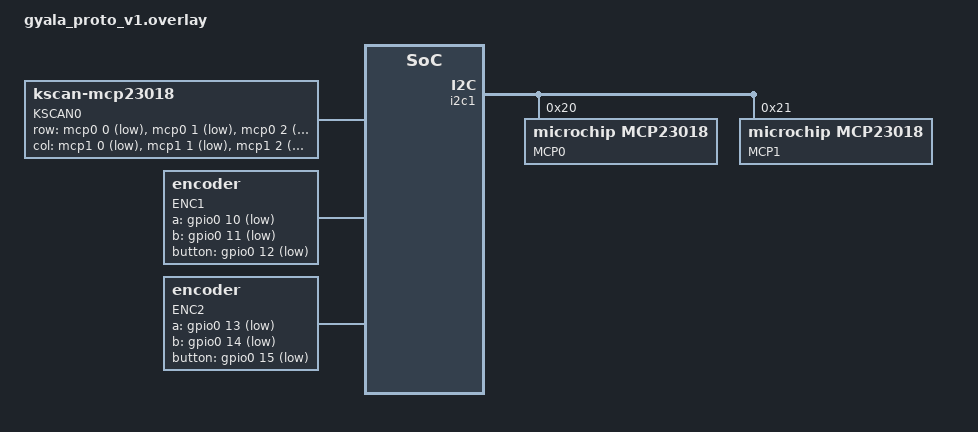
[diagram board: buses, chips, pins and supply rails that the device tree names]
/* gyala_proto_v1 overlay */
/ {
    i2c1: i2c@40003000 {
        compatible = "nordic,nrf-twim";
        status = "okay";
        label = "I2C1";

        mcp0: gpio@20 {
            compatible = "microchip,mcp23018";
            reg = <0x20>;
            gpio-controller;
            #gpio-cells = <2>;
            label = "MCP0";
        };

        mcp1: gpio@21 {
            compatible = "microchip,mcp23018";
            reg = <0x21>;
            gpio-controller;
            #gpio-cells = <2>;
            label = "MCP1";
        };
    };

    kscan0: kscan {
        compatible = "zmk,kscan-mcp23018";
        label = "KSCAN0";

        row-gpios = <&mcp0 0 GPIO_ACTIVE_LOW>,
                    <&mcp0 1 GPIO_ACTIVE_LOW>,
                    <&mcp0 2 GPIO_ACTIVE_LOW>,
                    <&mcp0 3 GPIO_ACTIVE_LOW>,
                    <&mcp0 4 GPIO_ACTIVE_LOW>;

        col-gpios = <&mcp1 0 GPIO_ACTIVE_LOW>,
                    <&mcp1 1 GPIO_ACTIVE_LOW>,
                    <&mcp1 2 GPIO_ACTIVE_LOW>,
                    <&mcp1 3 GPIO_ACTIVE_LOW>,
                    <&mcp1 4 GPIO_ACTIVE_LOW>,
                    <&mcp1 5 GPIO_ACTIVE_LOW>,
                    <&mcp1 6 GPIO_ACTIVE_LOW>,
                    <&mcp1 7 GPIO_ACTIVE_LOW>,
                    <&mcp1 8 GPIO_ACTIVE_LOW>,
                    <&mcp1 9 GPIO_ACTIVE_LOW>;
    };

    encoder1: encoder {
        compatible = "zmk,encoder";
        label = "ENC1";
        a-gpios = <&gpio0 10 GPIO_ACTIVE_LOW>;
        b-gpios = <&gpio0 11 GPIO_ACTIVE_LOW>;
        button-gpios = <&gpio0 12 GPIO_ACTIVE_LOW>;
    };

    encoder2: encoder {
        compatible = "zmk,encoder";
        label = "ENC2";
        a-gpios = <&gpio0 13 GPIO_ACTIVE_LOW>;
        b-gpios = <&gpio0 14 GPIO_ACTIVE_LOW>;
        button-gpios = <&gpio0 15 GPIO_ACTIVE_LOW>;
    };

    led0: led_0 {
        compatible = "gpio-leds";
        label = "LED0";
        gpios = <&gpio0 13 GPIO_ACTIVE_HIGH>;
    };
};

